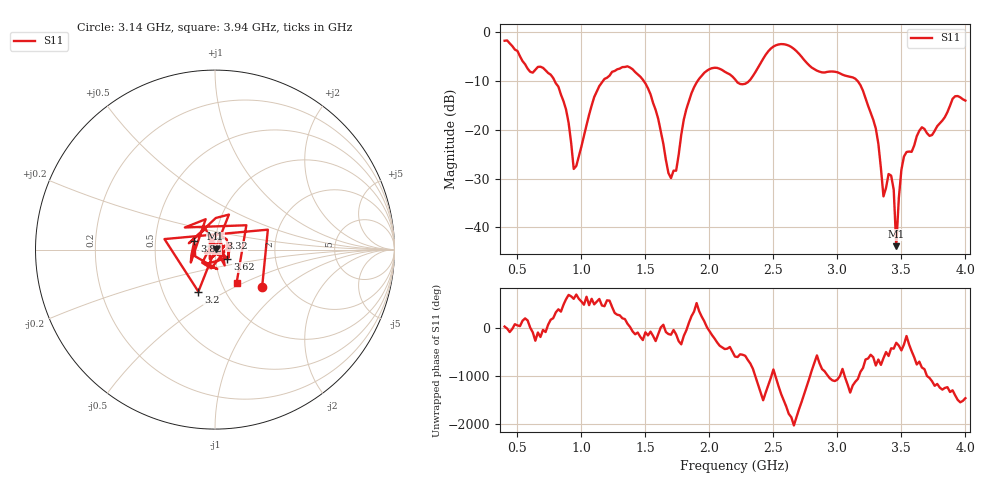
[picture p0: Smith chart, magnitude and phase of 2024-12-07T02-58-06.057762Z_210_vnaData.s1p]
!Created with skrf (http://scikit-rf.org).
# Hz S RI R 50.0
!freq ReS11 ImS11
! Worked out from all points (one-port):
!   181 points, 400 MHz to 4 GHz, reference 50 ohm
!   lowest |S11| = -43.8 dB at 3.46 GHz (marker M1), VSWR 1.01, Z = 50.4 + j0.54 ohm
!   |S11| at or under -10 dB: 791.6 MHz to 1.168 GHz (376.4 MHz wide, 38.4 % of centre); 1.488 GHz to 1.908 GHz (419.9 MHz wide, 24.7 % of centre); 3.158 GHz to end of sweep (the widest 3 of 4)
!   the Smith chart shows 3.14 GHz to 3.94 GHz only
!   S11 on the Smith chart (normalised r, x): 3.14 GHz: 1.51, -0.71; 3.2 GHz: 0.75, -0.37; 3.32 GHz: 1.05, +0.14; 3.62 GHz: 1.14, -0.12; 3.82 GHz: 0.79, +0.08; 3.94 GHz: 1.17, -0.46
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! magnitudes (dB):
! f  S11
! 400 MHz  -1.7
! 760 MHz  -8.7
! 860 MHz  -14.1
! 940 MHz  -28.0
! 1.1 GHz  -13.3
! 1.3 GHz  -7.4
! 1.52 GHz  -11.5
! 1.7 GHz  -29.9
! 1.76 GHz  -25.1
! 1.82 GHz  -15.7
! 1.92 GHz  -9.5
! 2.2 GHz  -9.6
! 2.5 GHz  -2.9
! 2.66 GHz  -3.4
! 3.1 GHz  -9.1
! 3.14 GHz  -9.5
! 3.2 GHz  -12.0
! 3.32 GHz  -22.8
! 3.36 GHz  -33.6
! 3.4 GHz  -29.0
! 3.44 GHz  -32.3
! 3.46 GHz  -43.8
! 3.5 GHz  -28.2
! 3.56 GHz  -24.4
! 3.62 GHz  -21.3
! 3.82 GHz  -18.1
! 3.94 GHz  -13.1
! 4 GHz  -14.0
